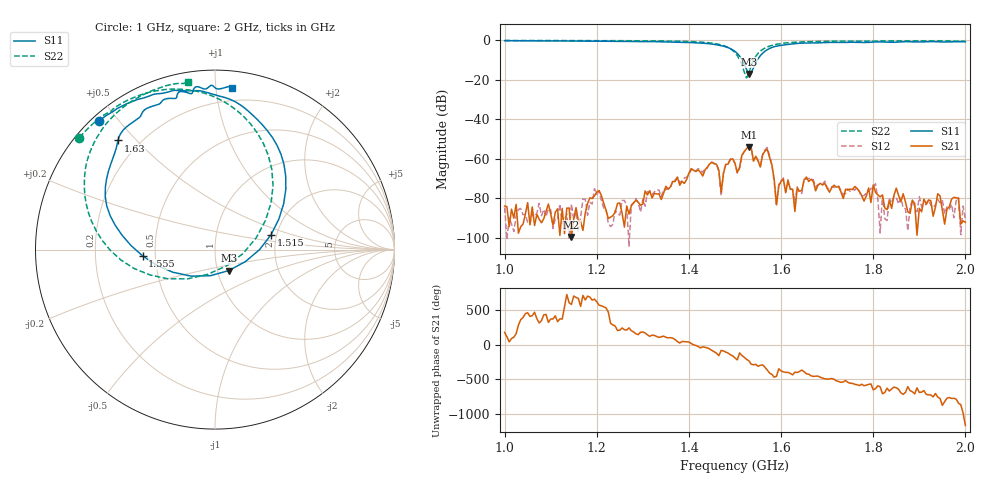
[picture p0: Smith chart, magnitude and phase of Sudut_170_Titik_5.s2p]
# Hz S RI R 50
! CMT, C1220, 16058040, 17.2.0/1
! Date: 14/08/2018 11:48:47
! Data: Format (Calibration Info)
! Freq  S11: Re/Im (F2)  S21: Re/Im (F2)  S12: Re/Im (F2)  S22: Re/Im (F2)
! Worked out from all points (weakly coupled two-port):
!   201 points, 1 GHz to 2 GHz, reference 50 ohm
!   highest |S21| = -54.00 dB at 1.53 GHz (marker M1); lowest = -99.4 dB at 1.145 GHz (marker M2)
!   lowest |S11| = -17.1 dB at 1.53 GHz (marker M3), VSWR 1.33, Z = 56.6 - j13.5 ohm
!   |S11| at or under -10 dB: 1.515 GHz to 1.549 GHz (33.24 MHz wide, 2.17 % of centre)
!   |S22| runs from -19.1 to -0.2 dB; largest |S21 - S12| = 0.0002
!   S11 on the Smith chart (normalised r, x): 1 GHz: 0.02, +0.44; 1.515 GHz: 1.87, +0.35; 1.555 GHz: 0.42, -0.04; 1.63 GHz: 0.12, +0.44; 2 GHz: 0.11, +1.11
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1e9  -0.6478 0.715  -6.4e-05 4.28e-06  -4.18e-05 4.17e-05  -0.7552 0.6243
1.145e9  -0.494 0.8114  -8.43e-06 -6.54e-06  6.99e-05 2.21e-05  -0.6432 0.7321
1.17e9  -0.4678 0.8225  1.52e-05 -3.12e-06  9.31e-05 -2.18e-05  -0.6182 0.7507
1.335e9  -0.2032 0.8857  -3.11e-05 0.000126  -3.08e-05 0.000158  -0.4008 0.8662
1.45e9  0.1846 0.7724  6.28e-05 -0.000807  -2.04e-05 -0.000825  0.0222 0.8388
1.465e9  0.2637 0.6958  -0.000474 -0.00019  -0.000455 -0.00011  0.1252 0.7726
1.47e9  0.2925 0.6617  1.68e-05 -0.000141  -1.73e-06 -0.000117  0.1617 0.7395
1.48e9  0.3467 0.5793  -0.000223 -0.000688  -0.000236 -0.000679  0.2352 0.6506
1.5e9  0.3947 0.3366  -0.000757 0.000161  -0.00073 0.000185  0.3233 0.3569
1.505e9  0.3827 0.2557  -0.000345 0.000286  -0.000333 0.000285  0.3125 0.2603
1.515e9  0.3123 0.0829  -0.00114 -0.000493  -0.0011 -0.000474  0.2297 0.0657
1.53e9  0.0763 -0.1171  -0.00124 0.00156  -0.00121 0.00155  -0.042 -0.1383
1.555e9  -0.403 -0.0352  0.000292 0.000547  0.000239 0.000627  -0.523 -0.0589
1.57e9  -0.5557 0.1352  0.00173 -0.00018  0.00192 -0.000194  -0.6619 0.1044
1.59e9  -0.6109 0.3475  -6.96e-06 -6.84e-05  -4.55e-06 -6.53e-05  -0.7247 0.2987
1.605e9  -0.5808 0.4763  0.000256 -0.000162  0.000256 -0.000206  -0.7264 0.4093
1.63e9  -0.5407 0.6084  3.76e-05 -2.73e-05  7.31e-05 -2.82e-05  -0.6973 0.5413
1.67e9  -0.43 0.7285  -3.48e-05 -0.000265  -5.82e-05 -0.000287  -0.6277 0.672
1.775e9  -0.2269 0.8419  -0.000101 5.88e-05  -7.43e-05 8.49e-05  -0.4615 0.8283
1.805e9  -0.2037 0.8753  7.23e-06 0.000142  -6.13e-05 0.000226  -0.4174 0.8538
1.835e9  -0.1382 0.869  5.48e-05 6.99e-05  6.39e-05 7.36e-05  -0.377 0.8741
2e9  0.0966 0.903  2.88e-06 -2.48e-05  -1.64e-05 -2.49e-05  -0.152 0.9341
